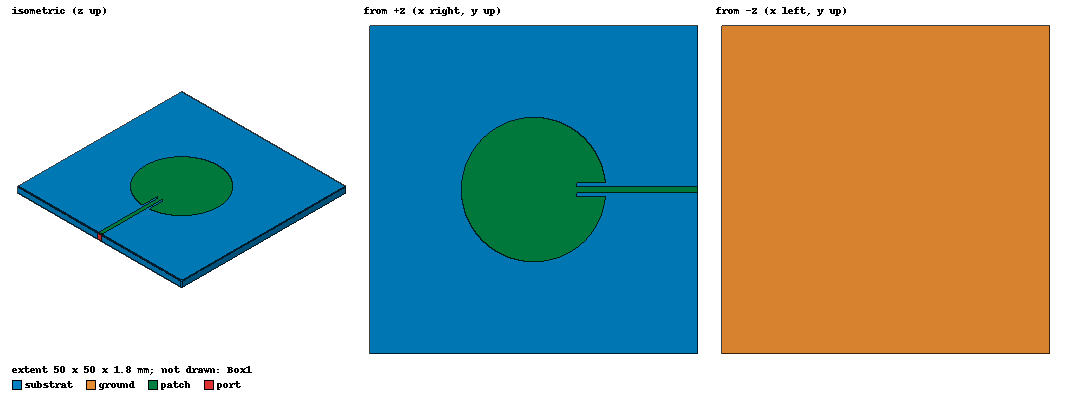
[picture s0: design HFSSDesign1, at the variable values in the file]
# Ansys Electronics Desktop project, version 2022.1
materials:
  vacuum: permittivity=1
  FR4_epoxy: permittivity=4.4 dielectric_loss_tangent=0.02

design HFSSDesign1 (HFSS, DrivenModal, model units mm)
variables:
  rad = 11mm
  box_h = 1.8mm
  cut_en = 2mm
  center = 6.5mm
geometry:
  ground = rectangle(corner=(-25mm, -25mm, 0mm), x_size=50mm, y_size=50mm)
  substrat [FR4_epoxy] = box(corner=(-25mm, -25mm, 0mm), size=(50mm, 50mm, box_h))
  patch = circle(normal=Z, centre=(0mm, 0mm, box_h), radius=rad)
  subtract = rectangle(corner=(center, -cut_en/2, 1.8mm), x_size=rad-center, y_size=cut_en)
  feed_line = rectangle(corner=(0mm, -cut_en/4, 1.8mm), x_size=25mm, y_size=cut_en/2)
  patch.subtract(subtract)
  patch.unite(feed_line)
  port = rectangle(corner=(25mm, cut_en/4, 0mm), y_size=-cut_en/2, z_size=1.8mm)
  Box1 [vacuum] = box(corner=(30mm, -30mm, -1mm), size=(-60mm, 60mm, 3mm))
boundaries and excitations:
  PerfE1: Perfect E Objects=ground
  PerfE2: Perfect E Objects=patch
  Rad1: Radiation Objects=Box1
  1: Lumped Port Objects=port Modes{Mode1{IntLine{(25, 0, 0) -> (25, 0, 1.8)} CharImp=Zpi RenormImp=50ohm}} Impedance=50ohm
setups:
  Setup1: HfssDriven Frequency=3.6GHz MaxDeltaS=0.02 MaximumPasses=6 MinimumPasses=1 MinimumConvergedPasses=1 PercentRefinement=30 BasisOrder=1 PortAccuracy=2 DrivenSolverType="Direct Solver"
    sweep Sweep: 1.8GHz to 10GHz step 0.02GHz; Type=Interpolating InterpTolerance=0.5 InterpMaxSolns=250 InterpUsePortImped=false PassivityErrorTolerance=0.0001
    sweep Sweep1: point 3.52GHz; point 7.56GHz; SaveSingleField Type=Discrete
    sweep Sweep2: point 7.56GHz; SaveSingleField Type=Discrete
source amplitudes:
  1:1: 1W 0deg
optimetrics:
  ParametricSetup2: Parametric Sim._Setups=[Setup1]
    sweep center: LIN 5mm 7.5mm 1mm
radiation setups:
  ff_2d: Infinite Sphere Theta=-180deg..180deg step 2deg Phi=0deg..90deg step 90deg
  ff_3d: Infinite Sphere Theta=0deg..180deg step 5deg Phi=0deg..360deg step 5deg
  Infinite Sphere1: Infinite Sphere Theta=-180deg..180deg step 2deg Phi=0deg..90deg step 90deg
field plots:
  Vector_Jsurf1: Jsurf over patch.face(at (0, 0, 1.8)) on Setup1 : Sweep1 at Freq=3.52GHz Phase=0deg
  Vector_Jsurf2: Jsurf over patch.face(at (0, 0, 1.8)) on Setup1 : Sweep2 at Freq=7.56GHz Phase=0deg
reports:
  S Parameter Plot 1: dB(S(1,1)) vs Freq on Setup1 : Sweep [center=all]; markers m1 at 3.52GHz, m2 at 7.56GHz
  Gain Plot 1: dB(GainTotal) vs Theta on Setup1 : Sweep1, Infinite Sphere1 [Phi=all Freq=3.52GHz center=all]
  Gain Plot 2: dB(GainTotal) vs Theta on Setup1 : Sweep2, Infinite Sphere1 [Phi=all Freq=7.56GHz center=all]
